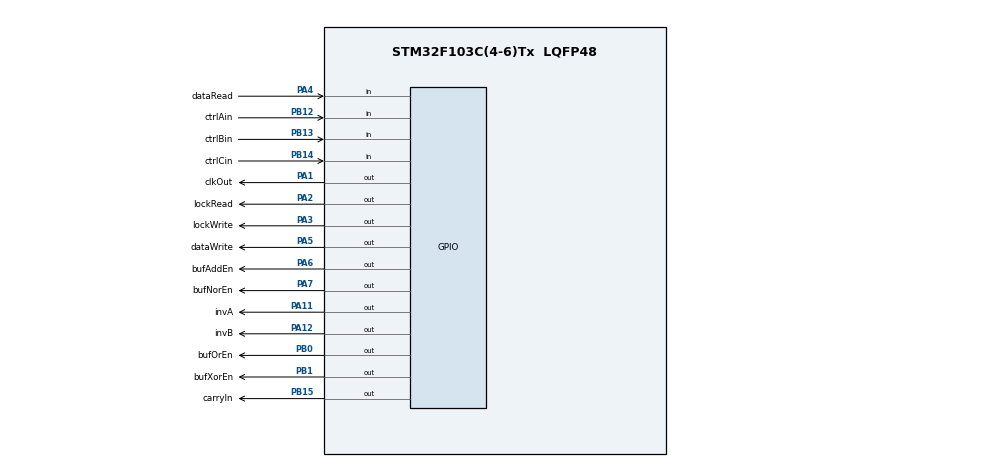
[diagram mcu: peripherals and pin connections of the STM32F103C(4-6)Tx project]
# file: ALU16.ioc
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Mcu.Family=STM32F1
Mcu.Name=STM32F103C(4-6)Tx
Mcu.Package=LQFP48
NVIC.PriorityGroup=NVIC_PRIORITYGROUP_4
NVIC.TIM1_UP_IRQn=true\:0\:0\:false\:false\:true\:true\:true\:true
PA1.GPIO_Label=clkOut
PA1.Signal=GPIO_Output
PA11.GPIO_Label=invA
PA11.Signal=GPIO_Output
PA12.GPIO_Label=invB
PA12.Signal=GPIO_Output
PA2.GPIO_Label=lockRead
PA2.Signal=GPIO_Output
PA3.GPIO_Label=lockWrite
PA3.Signal=GPIO_Output
PA4.GPIO_Label=dataRead
PA4.Signal=GPIO_Input
PA5.GPIO_Label=dataWrite
PA5.Signal=GPIO_Output
PA6.GPIO_Label=bufAddEn
PA6.Signal=GPIO_Output
PA7.GPIO_Label=bufNorEn
PA7.Signal=GPIO_Output
PB0.GPIO_Label=bufOrEn
PB0.Signal=GPIO_Output
PB1.GPIO_Label=bufXorEn
PB1.Signal=GPIO_Output
PB12.GPIO_Label=ctrlAin
PB12.Signal=GPIO_Input
PB13.GPIO_Label=ctrlBin
PB13.Signal=GPIO_Input
PB14.GPIO_Label=ctrlCin
PB14.Signal=GPIO_Input
PB15.GPIO_Label=carryIn
PB15.Signal=GPIO_Output
ProjectManager.HeapSize=0x200
ProjectManager.StackSize=0x400
ProjectManager.TargetToolchain=Makefile
RCC.APB1Freq_Value=8000000
RCC.APB2Freq_Value=8000000
TIM1.AutoReloadPreload=TIM_AUTORELOAD_PRELOAD_ENABLE
TIM1.Period=3125
TIM1.TIM_MasterOutputTrigger=TIM_TRGO_UPDATE
VP_SYS_VS_ND.Mode=No_Debug
VP_TIM1_VS_ClockSourceINT.Mode=Internal
board=custom

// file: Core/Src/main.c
/* USER CODE BEGIN Header */
/**
  ******************************************************************************
  * @file           : main.c
  * @brief          : Main program body
  ******************************************************************************
  * @attention
  *
  * Copyright (c) 2023 STMicroelectronics.
  * All rights reserved.
  *
  * This software is licensed under terms that can be found in the LICENSE file
  * in the root directory of this software component.
  * If no LICENSE file comes with this software, it is provided AS-IS.
  *
  ******************************************************************************
  */
/* USER CODE END Header */
#include "main.h"
#include "tim.h"
#include "gpio.h"

/* USER CODE BEGIN Includes */
#include "shiftOut.h"
#include "shiftIn.h"
#include "controlWire.h"
/* USER CODE END Includes */

/* USER CODE BEGIN PTD */
uint8_t clk;
uint8_t overRideOut = 0;
uint16_t overRideVal = 0;
/* USER CODE END PTD */

void SystemClock_Config(void);

int main(void)
{

  /* MCU Configuration--------------------------------------------------------*/

  /* Reset of all peripherals, Initializes the Flash interface and the Systick. */
  HAL_Init();

  /* USER CODE BEGIN Init */
  init_shiftOut(3, &clk);
  init_shiftIn(6, &clk);

  /* USER CODE END Init */

  /* Configure the system clock */
  SystemClock_Config();

  /* Initialize all configured peripherals */
  MX_GPIO_Init();
  MX_TIM1_Init();
  /* USER CODE BEGIN 2 */
  HAL_TIM_Base_Start_IT(&htim1);
  sendData(0, 0x1532);
  sendData(1, 0x1637);
  sendData(2, 0x6572);
  /* USER CODE END 2 */

  /* Infinite loop */
  /* USER CODE BEGIN WHILE */
  while(1){
    if(overRideOut){
      sendData(0, overRideVal);
    }else{
      sendData(0, getParData(0));
    }
    for(int i =1;i<3;i++){
      uint16_t val = getParData(i);
      sendData(i, val);
    }
    HAL_Delay(100);

    /* USER CODE END WHILE */

  }
}

void SystemClock_Config(void)
{
  RCC_OscInitTypeDef RCC_OscInitStruct = {0};
  RCC_ClkInitTypeDef RCC_ClkInitStruct = {0};

  /** Initializes the RCC Oscillators according to the specified parameters
  * in the RCC_OscInitTypeDef structure.
  */
  RCC_OscInitStruct.OscillatorType = RCC_OSCILLATORTYPE_HSI;
  RCC_OscInitStruct.HSIState = RCC_HSI_ON;
  RCC_OscInitStruct.HSICalibrationValue = RCC_HSICALIBRATION_DEFAULT;
  RCC_OscInitStruct.PLL.PLLState = RCC_PLL_NONE;
  if (HAL_RCC_OscConfig(&RCC_OscInitStruct) != HAL_OK)
  {
    Error_Handler();
  }

  /** Initializes the CPU, AHB and APB buses clocks
  */
  RCC_ClkInitStruct.ClockType = RCC_CLOCKTYPE_HCLK|RCC_CLOCKTYPE_SYSCLK
                              |RCC_CLOCKTYPE_PCLK1|RCC_CLOCKTYPE_PCLK2;
  RCC_ClkInitStruct.SYSCLKSource = RCC_SYSCLKSOURCE_HSI;
  RCC_ClkInitStruct.AHBCLKDivider = RCC_SYSCLK_DIV1;
  RCC_ClkInitStruct.APB1CLKDivider = RCC_HCLK_DIV1;
  RCC_ClkInitStruct.APB2CLKDivider = RCC_HCLK_DIV1;

  if (HAL_RCC_ClockConfig(&RCC_ClkInitStruct, FLASH_LATENCY_0) != HAL_OK)
  {
    Error_Handler();
  }
}

void Error_Handler(void)
{
  __disable_irq();
  while (1) {
  }
}
